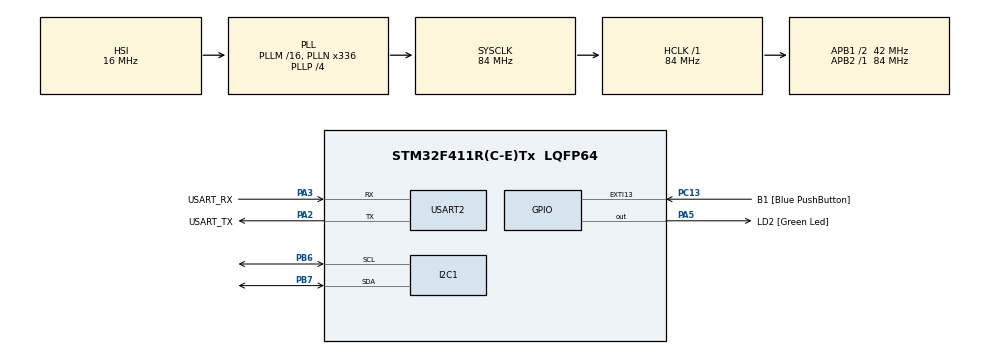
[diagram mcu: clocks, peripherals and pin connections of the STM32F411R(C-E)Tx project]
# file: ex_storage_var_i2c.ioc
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Dma.I2C1_RX.2.Direction=DMA_PERIPH_TO_MEMORY
Dma.I2C1_RX.2.FIFOMode=DMA_FIFOMODE_DISABLE
Dma.I2C1_RX.2.Instance=DMA1_Stream0
Dma.I2C1_RX.2.MemDataAlignment=DMA_MDATAALIGN_BYTE
Dma.I2C1_RX.2.MemInc=DMA_MINC_ENABLE
Dma.I2C1_RX.2.Mode=DMA_NORMAL
Dma.I2C1_RX.2.PeriphDataAlignment=DMA_PDATAALIGN_BYTE
Dma.I2C1_RX.2.PeriphInc=DMA_PINC_DISABLE
Dma.I2C1_RX.2.Priority=DMA_PRIORITY_LOW
Dma.I2C1_TX.3.Direction=DMA_MEMORY_TO_PERIPH
Dma.I2C1_TX.3.FIFOMode=DMA_FIFOMODE_DISABLE
Dma.I2C1_TX.3.Instance=DMA1_Stream1
Dma.I2C1_TX.3.MemDataAlignment=DMA_MDATAALIGN_BYTE
Dma.I2C1_TX.3.MemInc=DMA_MINC_ENABLE
Dma.I2C1_TX.3.Mode=DMA_NORMAL
Dma.I2C1_TX.3.PeriphDataAlignment=DMA_PDATAALIGN_BYTE
Dma.I2C1_TX.3.PeriphInc=DMA_PINC_DISABLE
Dma.I2C1_TX.3.Priority=DMA_PRIORITY_LOW
Dma.Request0=USART2_RX
Dma.Request1=USART2_TX
Dma.Request2=I2C1_RX
Dma.Request3=I2C1_TX
Dma.USART2_RX.0.Direction=DMA_PERIPH_TO_MEMORY
Dma.USART2_RX.0.FIFOMode=DMA_FIFOMODE_DISABLE
Dma.USART2_RX.0.Instance=DMA1_Stream5
Dma.USART2_RX.0.MemDataAlignment=DMA_MDATAALIGN_BYTE
Dma.USART2_RX.0.MemInc=DMA_MINC_ENABLE
Dma.USART2_RX.0.Mode=DMA_NORMAL
Dma.USART2_RX.0.PeriphDataAlignment=DMA_PDATAALIGN_BYTE
Dma.USART2_RX.0.PeriphInc=DMA_PINC_DISABLE
Dma.USART2_RX.0.Priority=DMA_PRIORITY_LOW
Dma.USART2_TX.1.Direction=DMA_MEMORY_TO_PERIPH
Dma.USART2_TX.1.FIFOMode=DMA_FIFOMODE_DISABLE
Dma.USART2_TX.1.Instance=DMA1_Stream6
Dma.USART2_TX.1.MemDataAlignment=DMA_MDATAALIGN_BYTE
Dma.USART2_TX.1.MemInc=DMA_MINC_ENABLE
Dma.USART2_TX.1.Mode=DMA_NORMAL
Dma.USART2_TX.1.PeriphDataAlignment=DMA_PDATAALIGN_BYTE
Dma.USART2_TX.1.PeriphInc=DMA_PINC_DISABLE
Dma.USART2_TX.1.Priority=DMA_PRIORITY_LOW
I2C1.I2C_Mode=I2C_Fast
Mcu.Family=STM32F4
Mcu.Name=STM32F411R(C-E)Tx
Mcu.Package=LQFP64
NVIC.DMA1_Stream0_IRQn=true\:0\:0\:false\:false\:true\:false\:true\:true
NVIC.DMA1_Stream1_IRQn=true\:0\:0\:false\:false\:true\:false\:true\:true
NVIC.DMA1_Stream5_IRQn=true\:0\:0\:false\:false\:true\:false\:true\:true
NVIC.DMA1_Stream6_IRQn=true\:0\:0\:false\:false\:true\:false\:true\:true
NVIC.I2C1_ER_IRQn=true\:0\:0\:false\:false\:true\:true\:true\:true
NVIC.I2C1_EV_IRQn=true\:0\:0\:false\:false\:true\:true\:true\:true
NVIC.PriorityGroup=NVIC_PRIORITYGROUP_0
NVIC.TIM2_IRQn=true\:0\:0\:false\:false\:true\:true\:true\:true
NVIC.USART2_IRQn=true\:0\:0\:false\:false\:true\:true\:true\:true
PA13.GPIO_Label=TMS
PA13.Mode=Serial_Wire
PA13.Signal=SYS_JTMS-SWDIO
PA14.GPIO_Label=TCK
PA14.Mode=Serial_Wire
PA14.Signal=SYS_JTCK-SWCLK
PA2.GPIO_Label=USART_TX
PA2.Mode=Asynchronous
PA2.Signal=USART2_TX
PA3.GPIO_Label=USART_RX
PA3.Mode=Asynchronous
PA3.Signal=USART2_RX
PA5.GPIO_Label=LD2 [Green Led]
PA5.Signal=GPIO_Output
PB3.GPIO_Label=SWO
PB3.Signal=SYS_JTDO-SWO
PB6.Mode=I2C
PB6.Signal=I2C1_SCL
PB7.Mode=I2C
PB7.Signal=I2C1_SDA
PC13-ANTI_TAMP.GPIO_Label=B1 [Blue PushButton]
PC13-ANTI_TAMP.GPIO_ModeDefaultEXTI=GPIO_MODE_IT_FALLING
PC13-ANTI_TAMP.Signal=GPXTI13
PC14-OSC32_IN.Mode=LSE-External-Oscillator
PC14-OSC32_IN.Signal=RCC_OSC32_IN
PC15-OSC32_OUT.Mode=LSE-External-Oscillator
PC15-OSC32_OUT.Signal=RCC_OSC32_OUT
PH0\ -\ OSC_IN.Mode=HSE-External-Clock-Source
PH0\ -\ OSC_IN.Signal=RCC_OSC_IN
PH1\ -\ OSC_OUT.Mode=HSE-External-Clock-Source
PH1\ -\ OSC_OUT.Signal=RCC_OSC_OUT
ProjectManager.HeapSize=0x200
ProjectManager.StackSize=0x400
ProjectManager.TargetToolchain=STM32CubeIDE
RCC.48MHZClocksFreq_Value=84000000
RCC.AHBFreq_Value=84000000
RCC.APB1CLKDivider=RCC_HCLK_DIV2
RCC.APB1Freq_Value=42000000
RCC.APB1TimFreq_Value=84000000
RCC.APB2Freq_Value=84000000
RCC.APB2TimFreq_Value=84000000
RCC.CortexFreq_Value=84000000
RCC.FLatency-AdvancedSettings=FLASH_LATENCY_2
RCC.HCLKFreq_Value=84000000
RCC.HSE_VALUE=8000000
RCC.HSI_VALUE=16000000
RCC.PLLN=336
RCC.PLLP=RCC_PLLP_DIV4
RCC.SYSCLKFreq_VALUE=84000000
RCC.SYSCLKSource=RCC_SYSCLKSOURCE_PLLCLK
RCC.VCOOutputFreq_Value=336000000
TIM2.Prescaler=84-1
USART2.VirtualMode=VM_ASYNC
VP_TIM2_VS_ClockSourceINT.Mode=Internal
board=NUCLEO-F411RE

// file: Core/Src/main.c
/* USER CODE BEGIN Header */
/**
  ******************************************************************************
  * @file           : main.c
  * @brief          : Main program body
  ******************************************************************************
  * @attention
  *
  * Copyright (c) 2022 STMicroelectronics.
  * All rights reserved.
  *
  * This software is licensed under terms that can be found in the LICENSE file
  * in the root directory of this software component.
  * If no LICENSE file comes with this software, it is provided AS-IS.
  *
  ******************************************************************************
  */
/* USER CODE END Header */
#include "main.h"

/* USER CODE BEGIN Includes */
#include "app_main.h"

/* USER CODE END Includes */

/* USER CODE BEGIN PD */
#define TASK_SIZE				3
#define TIMER_1MS_SIZE			1

#define USE_I2C_POLLING
//#define USE_I2C_INTERRUPT
//#define USE_I2C_DMA

#define ATMEL_I2C_ADDRESS		0x50

//#define EEPROM_AT24C08
#define EEPROM_AT24C256

#ifdef EEPROM_AT24C08
	#define EEPROM_PAGE_SIZE		16
	#define EEPROM_SECTOR_SIZE		16
	#define EEPROM_VOLUME			1024
	#define EEPROM_I_ADDR_SIZE		SIC_I_ADDR_SIZE_1
	#define MIN_DATA_INFO_COUNT		5
#endif

#ifdef EEPROM_AT24C256
	#define EEPROM_PAGE_SIZE		64
	#define EEPROM_SECTOR_SIZE		64
	#define EEPROM_VOLUME			32768
	#define EEPROM_I_ADDR_SIZE		SIC_I_ADDR_SIZE_2
	#define MIN_DATA_INFO_COUNT		8
#endif

/* USER CODE END PD */

I2C_HandleTypeDef hi2c1;
DMA_HandleTypeDef hdma_i2c1_rx;
DMA_HandleTypeDef hdma_i2c1_tx;

TIM_HandleTypeDef htim2;

UART_HandleTypeDef huart2;
DMA_HandleTypeDef hdma_usart2_rx;
DMA_HandleTypeDef hdma_usart2_tx;

/* USER CODE BEGIN PV */
static PifUart s_uart_log;

static uint16_t s_usLogTx;
static uint8_t s_ucLogRx;

/* USER CODE END PV */

void SystemClock_Config(void);
static void MX_GPIO_Init(void);
static void MX_DMA_Init(void);
static void MX_USART2_UART_Init(void);
static void MX_I2C1_Init(void);
static void MX_TIM2_Init(void);

/* USER CODE BEGIN 0 */
static uint32_t micros()
{
    return htim2.Instance->CNT;
}

static BOOL actLogStartTransfer(PifUart* p_uart)
{
	uint8_t *pucData, ucState;

	s_usLogTx = 0;
	ucState = pifUart_StartGetTxData(p_uart, &pucData, &s_usLogTx);
	if (ucState & PIF_UART_SEND_DATA_STATE_DATA) {
		HAL_UART_Transmit_IT(&huart2, pucData, s_usLogTx);
		return TRUE;
	}
	return FALSE;
}

void HAL_UART_TxCpltCallback(UART_HandleTypeDef *huart)
{
	uint8_t *pucData, ucState;

	if (huart->Instance == USART2) {
		ucState = pifUart_EndGetTxData(&s_uart_log, s_usLogTx);
		if (!(ucState & PIF_UART_SEND_DATA_STATE_EMPTY)) {
			s_usLogTx = 0;
			ucState = pifUart_StartGetTxData(&s_uart_log, &pucData, &s_usLogTx);
			if (ucState & PIF_UART_SEND_DATA_STATE_DATA) {
				HAL_UART_Transmit_IT(huart, pucData, s_usLogTx);
			}
		}
	}
}

void HAL_UART_RxCpltCallback(UART_HandleTypeDef *huart)
{
	if (huart->Instance == USART2) {
		pifUart_PutRxByte(&s_uart_log, s_ucLogRx);
		HAL_UART_Receive_IT(huart, &s_ucLogRx, 1);
	}
}

static void evtLedToggle(void *pvIssuer)
{
	static BOOL sw = OFF;

	(void)pvIssuer;

    HAL_GPIO_WritePin(LD2_GPIO_Port, LD2_Pin, sw);
	sw ^= 1;
}

#ifdef USE_I2C_POLLING

static PifI2cReturn actI2cRead(PifI2cDevice *p_owner, uint32_t iaddr, uint8_t isize, uint8_t* p_data, size_t size)
{
	if (isize) {
		return (HAL_I2C_Mem_Read(&hi2c1, (p_owner->addr << 1) | 1, iaddr, isize, p_data, size, 1000) == HAL_OK) ? IR_COMPLETE : IR_ERROR;
	}
	else {
		return (HAL_I2C_Master_Receive(&hi2c1, (p_owner->addr << 1) | 1, p_data, size, 1000) == HAL_OK) ? IR_COMPLETE : IR_ERROR;
	}
}

static PifI2cReturn actI2cWrite(PifI2cDevice *p_owner, uint32_t iaddr, uint8_t isize, uint8_t* p_data, size_t size)
{
	if (isize) {
		return (HAL_I2C_Mem_Write(&hi2c1, p_owner->addr << 1, iaddr, isize, p_data, size, 1000) == HAL_OK) ? IR_COMPLETE : IR_ERROR;
	}
	else {
		return (HAL_I2C_Master_Transmit(&hi2c1, p_owner->addr << 1, p_data, size, 1000) == HAL_OK) ? IR_COMPLETE : IR_ERROR;
	}
}

#endif

#ifdef USE_I2C_INTERRUPT

static PifI2cReturn actI2cRead(PifI2cDevice *p_owner, uint32_t iaddr, uint8_t isize, uint8_t* p_data, size_t size)
{
	if (isize) {
		return (HAL_I2C_Mem_Read_IT(&hi2c1, (p_owner->addr << 1) | 1, iaddr, isize, p_data, size) == HAL_OK) ? IR_WAIT : IR_ERROR;
	}
	else {
		return (HAL_I2C_Master_Receive_IT(&hi2c1, (p_owner->addr << 1) | 1, p_data, size) == HAL_OK) ? IR_WAIT : IR_ERROR;
	}
}

static PifI2cReturn actI2cWrite(PifI2cDevice *p_owner, uint32_t iaddr, uint8_t isize, uint8_t* p_data, size_t size)
{
	if (isize) {
		return (HAL_I2C_Mem_Write_IT(&hi2c1, p_owner->addr << 1, iaddr, isize, p_data, size) == HAL_OK) ? IR_WAIT : IR_ERROR;
	}
	else {
		return (HAL_I2C_Master_Transmit_IT(&hi2c1, p_owner->addr << 1, p_data, size) == HAL_OK) ? IR_WAIT : IR_ERROR;
	}
}

#endif

#ifdef USE_I2C_DMA

static PifI2cReturn actI2cRead(PifI2cDevice *p_owner, uint32_t iaddr, uint8_t isize, uint8_t* p_data, size_t size)
{
	if (isize) {
		return (HAL_I2C_Mem_Read_DMA(&hi2c1, (p_owner->addr << 1) | 1, iaddr, isize, p_data, size) == HAL_OK) ? IR_WAIT : IR_ERROR;
	}
	else {
		return (HAL_I2C_Master_Receive_DMA(&hi2c1, (p_owner->addr << 1) | 1, p_data, size) == HAL_OK) ? IR_WAIT : IR_ERROR;
	}
}

static PifI2cReturn actI2cWrite(PifI2cDevice *p_owner, uint32_t iaddr, uint8_t isize, uint8_t* p_data, size_t size)
{
	if (isize) {
		return (HAL_I2C_Mem_Write_DMA(&hi2c1, p_owner->addr << 1, iaddr, isize, p_data, size) == HAL_OK) ? IR_WAIT : IR_ERROR;
	}
	else {
		return (HAL_I2C_Master_Transmit_DMA(&hi2c1, p_owner->addr << 1, p_data, size) == HAL_OK) ? IR_WAIT : IR_ERROR;
	}
}

#endif

#if defined(USE_I2C_INTERRUPT) || defined(USE_I2C_DMA)

void HAL_I2C_MemRxCpltCallback(I2C_HandleTypeDef *hi2c)
{
	if (hi2c->Instance == I2C1) {
		pifI2cPort_sigEndTransfer(&g_i2c_port, TRUE);
	}
}

void HAL_I2C_MemTxCpltCallback(I2C_HandleTypeDef *hi2c)
{
	if (hi2c->Instance == I2C1) {
		pifI2cPort_sigEndTransfer(&g_i2c_port, TRUE);
	}
}

#endif
/* USER CODE END 0 */

int main(void)
{

  /* MCU Configuration--------------------------------------------------------*/

  /* Reset of all peripherals, Initializes the Flash interface and the Systick. */
  HAL_Init();

  /* Configure the system clock */
  SystemClock_Config();

  /* Initialize all configured peripherals */
  MX_GPIO_Init();
  MX_DMA_Init();
  MX_USART2_UART_Init();
  MX_I2C1_Init();
  MX_TIM2_Init();
  /* USER CODE BEGIN 2 */
  HAL_TIM_IC_Start_IT(&htim2, TIM_CHANNEL_1);

  pif_Init(micros);

  if (!pifTaskManager_Init(TASK_SIZE, 1)) return -1;

  if (!pifTimerManager_Init(&g_timer_1ms, PIF_ID_AUTO, 1000, TIMER_1MS_SIZE)) return -1;							// 1000us

  if (!pifUart_Init(&s_uart_log, PIF_ID_AUTO, huart2.Init.BaudRate)) return -1;
  if (!pifUart_AttachTxTask(&s_uart_log, PIF_ID_AUTO, TM_EXTERNAL, 0, NULL)) return -1;
  if (!pifUart_AttachRxTask(&s_uart_log, PIF_ID_AUTO, TM_PERIOD, 200000, NULL)) return -1;							// 200ms
  if (!pifUart_AllocRxBuffer(&s_uart_log, 64)) return -1;															// 64bytes
  if (!pifUart_AllocTxBuffer(&s_uart_log, 128)) return -1;															// 128bytes
  s_uart_log.act_start_transfer = actLogStartTransfer;

  HAL_UART_Receive_IT(&huart2, &s_ucLogRx, 1);

  pifLog_Init();
  if (!pifLog_AttachUart(&s_uart_log, 256)) return -1;																// 256bytes

  g_timer_led = pifTimerManager_Add(&g_timer_1ms, TT_REPEAT);
  if (!g_timer_led) return -1;
  pifTimer_AttachEvtFinish(g_timer_led, evtLedToggle, NULL, FALSE);

  if (!pifI2cPort_Init(&g_i2c_port, PIF_ID_AUTO, 1)) return -1;
  g_i2c_port.act_read = actI2cRead;
  g_i2c_port.act_write = actI2cWrite;

  if (!pifStorageVar_Init(&g_storage, PIF_ID_AUTO)) return -1;
  if (!pifStorageVar_AttachI2c(&g_storage, &g_i2c_port, ATMEL_I2C_ADDRESS, EEPROM_I_ADDR_SIZE, 10)) return -1;		// 10ms
  if (!pifStorageVar_SetMedia(&g_storage, EEPROM_SECTOR_SIZE, EEPROM_VOLUME, MIN_DATA_INFO_COUNT)) return -1;

  if (!appSetup()) return -1;

	pifLog_Print(LT_NONE, "\n\n****************************************\n");
	pifLog_Print(LT_NONE, "***        ex_storage_var_i2c        ***\n");
	pifLog_Printf(LT_NONE, "***       %s %s       ***\n", __DATE__, __TIME__);
	pifLog_Print(LT_NONE, "****************************************\n");
  pifLog_Printf(LT_INFO, "Task=%d/%d Timer=%d/%d\n", pifTaskManager_Count(), TASK_SIZE, pifTimerManager_Count(&g_timer_1ms), TIMER_1MS_SIZE);

  /* USER CODE END 2 */

  /* Infinite loop */
  /* USER CODE BEGIN WHILE */
  while (1)
  {
	pifTaskManager_Loop();
    /* USER CODE END WHILE */

  }
}

void SystemClock_Config(void)
{
  RCC_OscInitTypeDef RCC_OscInitStruct = {0};
  RCC_ClkInitTypeDef RCC_ClkInitStruct = {0};

  /** Configure the main internal regulator output voltage
  */
  __HAL_RCC_PWR_CLK_ENABLE();
  __HAL_PWR_VOLTAGESCALING_CONFIG(PWR_REGULATOR_VOLTAGE_SCALE1);

  /** Initializes the RCC Oscillators according to the specified parameters
  * in the RCC_OscInitTypeDef structure.
  */
  RCC_OscInitStruct.OscillatorType = RCC_OSCILLATORTYPE_HSI;
  RCC_OscInitStruct.HSIState = RCC_HSI_ON;
  RCC_OscInitStruct.HSICalibrationValue = RCC_HSICALIBRATION_DEFAULT;
  RCC_OscInitStruct.PLL.PLLState = RCC_PLL_ON;
  RCC_OscInitStruct.PLL.PLLSource = RCC_PLLSOURCE_HSI;
  RCC_OscInitStruct.PLL.PLLM = 16;
  RCC_OscInitStruct.PLL.PLLN = 336;
  RCC_OscInitStruct.PLL.PLLP = RCC_PLLP_DIV4;
  RCC_OscInitStruct.PLL.PLLQ = 4;
  if (HAL_RCC_OscConfig(&RCC_OscInitStruct) != HAL_OK)
  {
    Error_Handler();
  }

  /** Initializes the CPU, AHB and APB buses clocks
  */
  RCC_ClkInitStruct.ClockType = RCC_CLOCKTYPE_HCLK|RCC_CLOCKTYPE_SYSCLK
                              |RCC_CLOCKTYPE_PCLK1|RCC_CLOCKTYPE_PCLK2;
  RCC_ClkInitStruct.SYSCLKSource = RCC_SYSCLKSOURCE_PLLCLK;
  RCC_ClkInitStruct.AHBCLKDivider = RCC_SYSCLK_DIV1;
  RCC_ClkInitStruct.APB1CLKDivider = RCC_HCLK_DIV2;
  RCC_ClkInitStruct.APB2CLKDivider = RCC_HCLK_DIV1;

  if (HAL_RCC_ClockConfig(&RCC_ClkInitStruct, FLASH_LATENCY_2) != HAL_OK)
  {
    Error_Handler();
  }
}

static void MX_I2C1_Init(void)
{

  hi2c1.Instance = I2C1;
  hi2c1.Init.ClockSpeed = 400000;
  hi2c1.Init.DutyCycle = I2C_DUTYCYCLE_2;
  hi2c1.Init.OwnAddress1 = 0;
  hi2c1.Init.AddressingMode = I2C_ADDRESSINGMODE_7BIT;
  hi2c1.Init.DualAddressMode = I2C_DUALADDRESS_DISABLE;
  hi2c1.Init.OwnAddress2 = 0;
  hi2c1.Init.GeneralCallMode = I2C_GENERALCALL_DISABLE;
  hi2c1.Init.NoStretchMode = I2C_NOSTRETCH_DISABLE;
  if (HAL_I2C_Init(&hi2c1) != HAL_OK)
  {
    Error_Handler();
  }

}

static void MX_TIM2_Init(void)
{

  TIM_ClockConfigTypeDef sClockSourceConfig = {0};
  TIM_MasterConfigTypeDef sMasterConfig = {0};

  htim2.Instance = TIM2;
  htim2.Init.Prescaler = 84-1;
  htim2.Init.CounterMode = TIM_COUNTERMODE_UP;
  htim2.Init.Period = 4294967295;
  htim2.Init.ClockDivision = TIM_CLOCKDIVISION_DIV1;
  htim2.Init.AutoReloadPreload = TIM_AUTORELOAD_PRELOAD_DISABLE;
  if (HAL_TIM_Base_Init(&htim2) != HAL_OK)
  {
    Error_Handler();
  }
  sClockSourceConfig.ClockSource = TIM_CLOCKSOURCE_INTERNAL;
  if (HAL_TIM_ConfigClockSource(&htim2, &sClockSourceConfig) != HAL_OK)
  {
    Error_Handler();
  }
  sMasterConfig.MasterOutputTrigger = TIM_TRGO_RESET;
  sMasterConfig.MasterSlaveMode = TIM_MASTERSLAVEMODE_DISABLE;
  if (HAL_TIMEx_MasterConfigSynchronization(&htim2, &sMasterConfig) != HAL_OK)
  {
    Error_Handler();
  }

}

static void MX_USART2_UART_Init(void)
{

  huart2.Instance = USART2;
  huart2.Init.BaudRate = 115200;
  huart2.Init.WordLength = UART_WORDLENGTH_8B;
  huart2.Init.StopBits = UART_STOPBITS_1;
  huart2.Init.Parity = UART_PARITY_NONE;
  huart2.Init.Mode = UART_MODE_TX_RX;
  huart2.Init.HwFlowCtl = UART_HWCONTROL_NONE;
  huart2.Init.OverSampling = UART_OVERSAMPLING_16;
  if (HAL_UART_Init(&huart2) != HAL_OK)
  {
    Error_Handler();
  }

}

static void MX_DMA_Init(void)
{

  /* DMA controller clock enable */
  __HAL_RCC_DMA1_CLK_ENABLE();

  /* DMA interrupt init */
  /* DMA1_Stream0_IRQn interrupt configuration */
  HAL_NVIC_SetPriority(DMA1_Stream0_IRQn, 0, 0);
  HAL_NVIC_EnableIRQ(DMA1_Stream0_IRQn);
  /* DMA1_Stream1_IRQn interrupt configuration */
  HAL_NVIC_SetPriority(DMA1_Stream1_IRQn, 0, 0);
  HAL_NVIC_EnableIRQ(DMA1_Stream1_IRQn);
  /* DMA1_Stream5_IRQn interrupt configuration */
  HAL_NVIC_SetPriority(DMA1_Stream5_IRQn, 0, 0);
  HAL_NVIC_EnableIRQ(DMA1_Stream5_IRQn);
  /* DMA1_Stream6_IRQn interrupt configuration */
  HAL_NVIC_SetPriority(DMA1_Stream6_IRQn, 0, 0);
  HAL_NVIC_EnableIRQ(DMA1_Stream6_IRQn);

}

static void MX_GPIO_Init(void)
{
  GPIO_InitTypeDef GPIO_InitStruct = {0};

  /* GPIO Ports Clock Enable */
  __HAL_RCC_GPIOC_CLK_ENABLE();
  __HAL_RCC_GPIOH_CLK_ENABLE();
  __HAL_RCC_GPIOA_CLK_ENABLE();
  __HAL_RCC_GPIOB_CLK_ENABLE();

  /*Configure GPIO pin Output Level */
  HAL_GPIO_WritePin(LD2_GPIO_Port, LD2_Pin, GPIO_PIN_RESET);

  /*Configure GPIO pin : B1_Pin */
  GPIO_InitStruct.Pin = B1_Pin;
  GPIO_InitStruct.Mode = GPIO_MODE_IT_FALLING;
  GPIO_InitStruct.Pull = GPIO_NOPULL;
  HAL_GPIO_Init(B1_GPIO_Port, &GPIO_InitStruct);

  /*Configure GPIO pin : LD2_Pin */
  GPIO_InitStruct.Pin = LD2_Pin;
  GPIO_InitStruct.Mode = GPIO_MODE_OUTPUT_PP;
  GPIO_InitStruct.Pull = GPIO_NOPULL;
  GPIO_InitStruct.Speed = GPIO_SPEED_FREQ_LOW;
  HAL_GPIO_Init(LD2_GPIO_Port, &GPIO_InitStruct);

}

void Error_Handler(void)
{
  __disable_irq();
  while (1)
  {
  }
}
